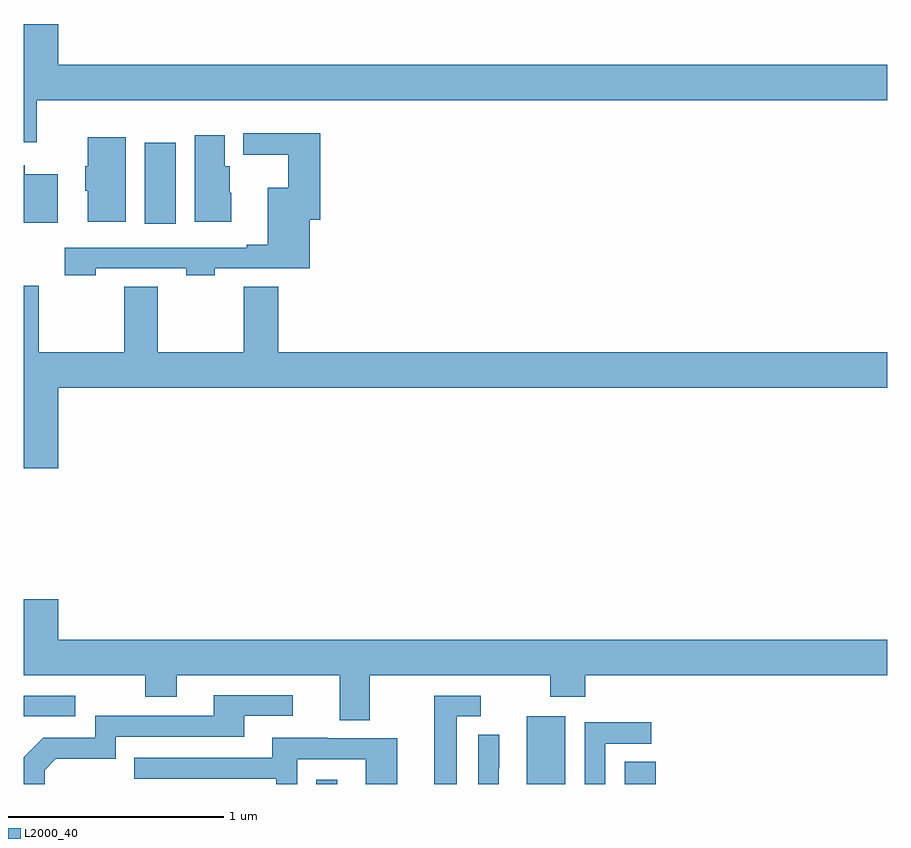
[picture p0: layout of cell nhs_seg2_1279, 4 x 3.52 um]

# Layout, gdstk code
import gdstk
lib = gdstk.Library(unit=1e-6, precision=1e-09)
def R(c, l, rs):  # rectangles x0, y0, x1, y1
    for r in rs: c.add(gdstk.rectangle(r[:2], r[2:], *l))
def P(c, l, *ps):  # polygons
    for p in ps: c.add(gdstk.Polygon(p, *l))
L2000_40 = (2000, 40)

nhs_seg2_1279 = lib.new_cell('nhs_seg2_1279')
R(nhs_seg2_1279, L2000_40, [(178.356,645.8,178.453,645.82), (179.33,645.8,179.509,646.114), (179.783,645.8,179.927,645.902), (177,646.113,177.238,646.209), (177.56,648.396,177.703,648.772)])
P(nhs_seg2_1279, L2000_40, [(177.061,648.968),(181,648.968),(181,649.132),(177.16,649.132),(177.16,649.321),(177,649.321),(177,648.774),(177.061,648.774)],
  [(177.333,648.189),(177.753,648.189),(177.753,648.157),(177.885,648.157),(177.885,648.189),(178.324,648.189),(178.324,648.413),(178.373,648.413),(178.373,648.814),(178.017,648.814),(178.017,648.716),(178.226,648.716),(178.226,648.562),(178.13,648.562),(178.13,648.298),(178.034,648.298),(178.034,648.285),(177.189,648.285),(177.189,648.157),(177.333,648.157)],
  [(177.961,648.54),(177.954,648.54),(177.954,648.663),(177.931,648.663),(177.931,648.805),(177.791,648.805),(177.791,648.404),(177.961,648.404)],
  [(177.472,648.796),(177.296,648.796),(177.296,648.663),(177.284,648.663),(177.284,648.549),(177.296,648.549),(177.296,648.404),(177.472,648.404)],
  [(177.157,648.625),(177.004,648.625),(177.004,648.667),(177,648.667),(177,648.401),(177.157,648.401)],
  [(177.16,647.636),(181,647.636),(181,647.8),(178.178,647.8),(178.178,648.104),(178.018,648.104),(178.018,647.8),(177.62,647.8),(177.62,648.104),(177.466,648.104),(177.466,647.8),(177.069,647.8),(177.069,648.109),(177,648.109),(177,647.262),(177.16,647.262)],
  [(178.603,646.304),(179.44,646.304),(179.44,646.205),(179.6,646.205),(179.6,646.304),(181,646.304),(181,646.468),(177.16,646.468),(177.16,646.657),(177,646.657),(177,646.304),(177.562,646.304),(177.562,646.205),(177.709,646.205),(177.709,646.304),(178.463,646.304),(178.463,646.096),(178.603,646.096)],
  [(177.096,645.864),(177.149,645.917),(177.426,645.917),(177.426,646.02),(178.021,646.02),(178.021,646.116),(178.246,646.116),(178.246,646.212),(177.881,646.212),(177.881,646.116),(177.33,646.116),(177.33,646.014),(177.09,646.014),(177,645.924),(177,645.8),(177.096,645.8)],
  [(179.005,646.113),(179.116,646.113),(179.116,646.209),(178.901,646.209),(178.901,645.8),(179.005,645.8)],
  [(179.694,645.987),(179.908,645.987),(179.908,646.086),(179.598,646.086),(179.598,645.8),(179.694,645.8)],
  [(179.201,645.874),(179.202,645.874),(179.202,646.028),(179.106,646.028),(179.106,645.8),(179.201,645.8)],
  [(178.266,645.915),(178.584,645.915),(178.584,645.8),(178.729,645.8),(178.729,646.011),(178.405,646.011),(178.405,646.015),(178.151,646.015),(178.151,645.921),(177.511,645.921),(177.511,645.825),(178.17,645.825),(178.17,645.8),(178.266,645.8)])

lib.write_gds('nhs_seg2_1279.gds')
